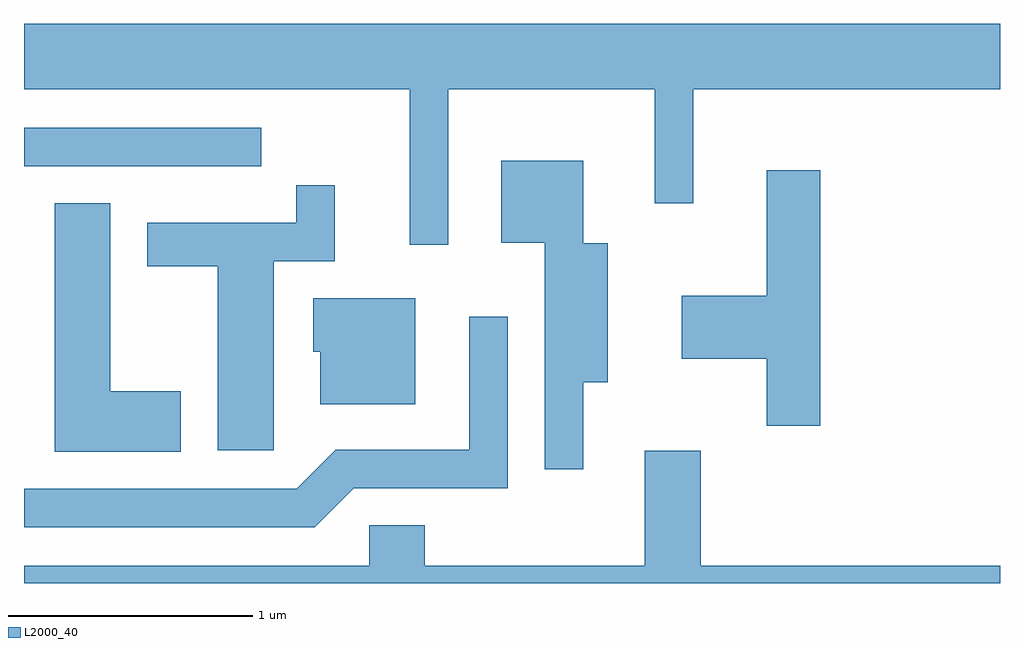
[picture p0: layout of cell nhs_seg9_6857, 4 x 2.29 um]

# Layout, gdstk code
import gdstk
lib = gdstk.Library(unit=1e-6, precision=1e-09)
def R(c, l, rs):  # rectangles x0, y0, x1, y1
    for r in rs: c.add(gdstk.rectangle(r[:2], r[2:], *l))
def P(c, l, *ps):  # polygons
    for p in ps: c.add(gdstk.Polygon(p, *l))
L2000_40 = (2000, 40)

nhs_seg9_6857 = lib.new_cell('nhs_seg9_6857')
R(nhs_seg9_6857, L2000_40, [(387.611,2018.141,388.583,2018.299)])
P(nhs_seg9_6857, L2000_40, [(389.349,2018.456),(390.196,2018.456),(390.196,2017.988),(390.354,2017.988),(390.354,2018.456),(391.611,2018.456),(391.611,2018.724),(387.611,2018.724),(387.611,2018.456),(389.191,2018.456),(389.191,2017.818),(389.349,2017.818)],
  [(389.904,2017.256),(390.004,2017.256),(390.004,2017.824),(389.904,2017.824),(389.904,2018.164),(389.566,2018.164),(389.566,2017.826),(389.746,2017.826),(389.746,2016.898),(389.904,2016.898)],
  [(390.874,2018.124),(390.656,2018.124),(390.656,2017.609),(390.306,2017.609),(390.306,2017.351),(390.656,2017.351),(390.656,2017.076),(390.874,2017.076)],
  [(388.634,2017.751),(388.884,2017.751),(388.884,2018.063),(388.726,2018.063),(388.726,2017.909),(388.116,2017.909),(388.116,2017.731),(388.406,2017.731),(388.406,2016.976),(388.634,2016.976)],
  [(388.254,2017.219),(387.964,2017.219),(387.964,2017.989),(387.736,2017.989),(387.736,2016.971),(388.254,2016.971)],
  [(389.214,2017.599),(388.796,2017.599),(388.796,2017.381),(388.826,2017.381),(388.826,2017.166),(389.214,2017.166)],
  [(388.962,2016.821),(389.594,2016.821),(389.594,2017.523),(389.436,2017.523),(389.436,2016.979),(388.889,2016.979),(388.729,2016.819),(387.611,2016.819),(387.611,2016.661),(388.802,2016.661)],
  [(391.611,2016.504),(390.384,2016.504),(390.384,2016.974),(390.156,2016.974),(390.156,2016.504),(389.254,2016.504),(389.254,2016.669),(389.026,2016.669),(389.026,2016.504),(387.611,2016.504),(387.611,2016.432),(391.611,2016.432)])

lib.write_gds('nhs_seg9_6857.gds')
